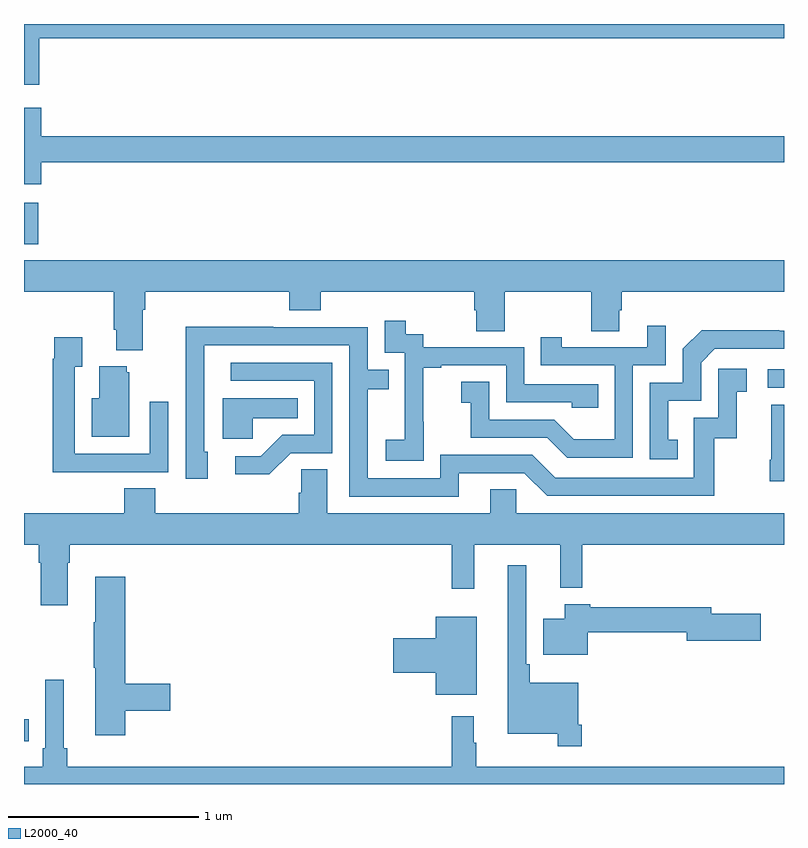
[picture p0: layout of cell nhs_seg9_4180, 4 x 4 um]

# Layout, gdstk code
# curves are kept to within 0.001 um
import gdstk
lib = gdstk.Library(unit=1e-6, precision=1e-09)
def R(c, l, rs):  # rectangles x0, y0, x1, y1
    for r in rs: c.add(gdstk.rectangle(r[:2], r[2:], *l))
def P(c, l, *ps):  # polygons
    for p in ps: c.add(gdstk.Polygon(p, *l))
L2000_40 = (2000, 40)

nhs_seg9_4180 = lib.new_cell('nhs_seg9_4180')
R(nhs_seg9_4180, L2000_40, [(351,1188.726,351.026,1188.842), (354.915,1190.586,355,1190.682), (351,1191.342,351.074,1191.558)])
P(nhs_seg9_4180, L2000_40, [(351.08,1192.424),(355,1192.424),(355,1192.5),(351,1192.5),(351,1192.179),(351.08,1192.179)],
  [(351.092,1191.772),(355,1191.772),(355,1191.908),(351.092,1191.908),(351.092,1192.06),(351,1192.06),(351,1191.657),(351.092,1191.657)],
  [(351.625,1190.996),(351.638,1190.996),(351.638,1191.092),(352.397,1191.092),(352.397,1190.993),(352.562,1190.993),(352.562,1191.092),(353.369,1191.092),(353.369,1190.994),(353.381,1190.994),(353.381,1190.884),(353.529,1190.884),(353.529,1191.092),(353.986,1191.092),(353.986,1190.884),(354.133,1190.884),(354.133,1190.994),(354.146,1190.994),(354.146,1191.092),(355,1191.092),(355,1191.256),(351,1191.256),(351,1191.092),(351.473,1191.092),(351.473,1190.89),(351.485,1190.89),(351.485,1190.783),(351.625,1190.783)],
  [(353.103,1190.407),(353.102,1190.407),(353.102,1190.691),(353.197,1190.691),(353.197,1190.703),(353.538,1190.703),(353.538,1190.508),(353.883,1190.508),(353.883,1190.481),(354.023,1190.481),(354.023,1190.604),(353.634,1190.604),(353.634,1190.799),(353.1,1190.799),(353.1,1190.868),(353.008,1190.868),(353.008,1190.938),(352.899,1190.938),(352.899,1190.769),(353.004,1190.769),(353.004,1190.54),(353.003,1190.54),(353.003,1190.311),(352.905,1190.311),(352.905,1190.201),(353.103,1190.201)],
  [(354.204,1190.703),(354.378,1190.703),(354.378,1190.911),(354.281,1190.911),(354.281,1190.799),(353.83,1190.799),(353.83,1190.851),(353.719,1190.851),(353.719,1190.703),(354.108,1190.703),(354.108,1190.314),(353.894,1190.314),(353.79,1190.418),(353.448,1190.418),(353.448,1190.617),(353.301,1190.617),(353.301,1190.507),(353.35,1190.507),(353.35,1190.322),(353.753,1190.322),(353.858,1190.217),(354.204,1190.217)],
  [(353.287,1190.136),(353.634,1190.136),(353.754,1190.016),(354.634,1190.016),(354.634,1190.319),(354.752,1190.319),(354.752,1190.565),(354.805,1190.565),(354.805,1190.686),(354.654,1190.686),(354.654,1190.427),(354.525,1190.427),(354.525,1190.112),(353.796,1190.112),(353.676,1190.232),(353.19,1190.232),(353.19,1190.109),(352.809,1190.109),(352.809,1190.578),(352.919,1190.578),(352.919,1190.679),(352.809,1190.679),(352.809,1190.904),(352.313,1190.904),(352.313,1190.906),(351.85,1190.906),(351.85,1190.599),(351.852,1190.599),(351.852,1190.106),(351.967,1190.106),(351.967,1190.25),(351.948,1190.25),(351.949,1190.808),(352.713,1190.808),(352.713,1190.013),(353.287,1190.013)],
  [(354.44,1190.313),(354.391,1190.313),(354.391,1190.517),(354.564,1190.517),(354.564,1190.718),(354.636,1190.79),(355,1190.79),(355,1190.886),(354.974,1190.886),(354.974,1190.888),(354.566,1190.888),(354.468,1190.79),(354.468,1190.613),(354.294,1190.613),(354.294,1190.208),(354.44,1190.208)],
  [(351.443,1190.142),(351.759,1190.142),(351.759,1190.512),(351.663,1190.512),(351.663,1190.238),(351.267,1190.238),(351.267,1190.695),(351.307,1190.695),(351.307,1190.851),(351.159,1190.851),(351.159,1190.738),(351.151,1190.738),(351.151,1190.141),(351.443,1190.141)],
  [(352.404,1190.241),(352.623,1190.241),(352.623,1190.718),(352.089,1190.718),(352.089,1190.622),(352.527,1190.622),(352.527,1190.337),(352.358,1190.337),(352.247,1190.226),(352.113,1190.226),(352.113,1190.129),(352.291,1190.129)],
  [(351.553,1190.667),(351.542,1190.667),(351.542,1190.698),(351.395,1190.698),(351.395,1190.53),(351.356,1190.53),(351.356,1190.327),(351.553,1190.327)],
  [(352.203,1190.426),(352.442,1190.426),(352.442,1190.53),(352.046,1190.53),(352.046,1190.318),(352.203,1190.318)],
  [(355,1190.497),(354.932,1190.497),(354.932,1190.206),(354.925,1190.206),(354.925,1190.094),(355,1190.094)],
  [(351.229,1189.664),(351.242,1189.664),(351.242,1189.76),(353.251,1189.76),(353.251,1189.527),(353.369,1189.527),(353.369,1189.76),(353.822,1189.76),(353.822,1189.532),(353.939,1189.532),(353.939,1189.76),(355,1189.76),(355,1189.924),(353.592,1189.924),(353.592,1190.051),(353.453,1190.051),(353.453,1189.924),(352.597,1189.924),(352.597,1190.156),(352.458,1190.156),(352.458,1190.033),(352.445,1190.033),(352.445,1189.924),(351.692,1189.924),(351.692,1190.057),(351.527,1190.057),(351.527,1189.924),(351,1189.924),(351,1189.76),(351.077,1189.76),(351.077,1189.664),(351.089,1189.664),(351.089,1189.44),(351.229,1189.44)],
  [(353.936,1188.811),(353.916,1188.811),(353.916,1189.033),(353.663,1189.033),(353.663,1189.129),(353.643,1189.129),(353.643,1189.651),(353.546,1189.651),(353.546,1188.764),(353.808,1188.764),(353.808,1188.699),(353.936,1188.699)],
  [(351.533,1188.886),(351.769,1188.886),(351.769,1189.028),(351.533,1189.028),(351.533,1189.591),(351.374,1189.591),(351.374,1189.352),(351.367,1189.352),(351.367,1189.111),(351.374,1189.111),(351.374,1188.756),(351.533,1188.756)],
  [(353.968,1189.3),(354.488,1189.3),(354.488,1189.253),(354.877,1189.253),(354.877,1189.395),(354.616,1189.395),(354.616,1189.429),(353.981,1189.429),(353.981,1189.447),(353.846,1189.447),(353.846,1189.369),(353.732,1189.369),(353.732,1189.181),(353.968,1189.181)],
  [(353.383,1189.381),(353.168,1189.381),(353.168,1189.268),(352.944,1189.268),(352.944,1189.085),(353.168,1189.085),(353.168,1188.971),(353.383,1188.971)],
  [(355,1188.592),(353.38,1188.592),(353.38,1188.716),(353.368,1188.716),(353.368,1188.856),(353.251,1188.856),(353.251,1188.592),(351.227,1188.592),(351.227,1188.688),(351.208,1188.688),(351.208,1189.048),(351.111,1189.048),(351.111,1188.688),(351.098,1188.688),(351.098,1188.592),(351,1188.592),(351,1188.5),(355,1188.5)])

lib.write_gds('nhs_seg9_4180.gds')
